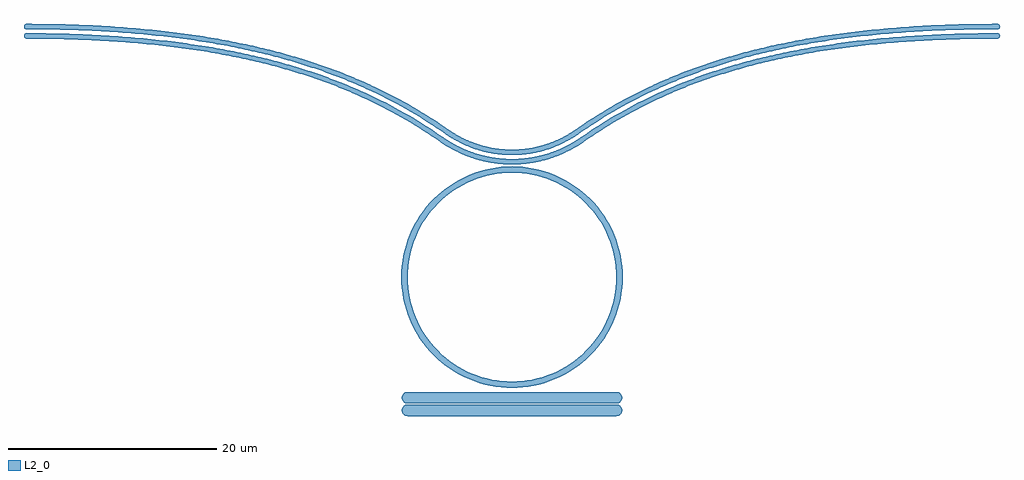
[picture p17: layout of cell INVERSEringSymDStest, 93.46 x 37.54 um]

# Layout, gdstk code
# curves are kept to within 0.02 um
import gdstk
lib = gdstk.Library(unit=1e-6, precision=1e-09)
def P(c, l, *ps):  # polygons
    for p in ps: c.add(gdstk.Polygon(p, *l))
L2_0 = (2, 0)

inverseringsymdstest = lib.new_cell('INVERSEringSymDStest')
P(inverseringsymdstest, L2_0, [(0,-10.6),(-1.039,-10.549),(-2.068,-10.396),(-3.077,-10.144),(-4.056,-9.793),(-4.997,-9.348),(-5.889,-8.814),(-6.725,-8.194),(-7.495,-7.495),(-8.194,-6.725),(-8.814,-5.889),(-9.348,-4.997),(-9.793,-4.056),(-10.144,-3.077),(-10.396,-2.068),(-10.549,-1.039),(-10.6,0),(-10.549,1.039),(-10.396,2.068),(-10.144,3.077),(-9.793,4.056),(-9.348,4.997),(-8.814,5.889),(-8.194,6.725),(-7.495,7.495),(-6.725,8.194),(-5.889,8.814),(-4.997,9.348),(-4.056,9.793),(-3.077,10.144),(-2.068,10.396),(-1.039,10.549),(0,10.6),(1.039,10.549),(2.068,10.396),(3.077,10.144),(4.056,9.793),(4.997,9.348),(5.889,8.814),(6.725,8.194),(7.495,7.495),(8.194,6.725),(8.814,5.889),(9.348,4.997),(9.793,4.056),(10.144,3.077),(10.396,2.068),(10.549,1.039),(10.6,0),(10,0),(9.988,0.491),(9.892,1.467),(9.808,1.951),(9.569,2.903),(9.239,3.827),(9.04,4.276),(8.577,5.141),(8.032,5.957),(7.41,6.716),(6.716,7.41),(6.344,7.73),(5.556,8.315),(5.141,8.577),(4.276,9.04),(3.827,9.239),(2.903,9.569),(2.43,9.7),(1.951,9.808),(0.98,9.952),(0.491,9.988),(-0.491,9.988),(-1.467,9.892),(-1.951,9.808),(-2.903,9.569),(-3.369,9.415),(-3.827,9.239),(-4.714,8.819),(-5.556,8.315),(-5.957,8.032),(-6.716,7.41),(-7.071,7.071),(-7.41,6.716),(-8.032,5.957),(-8.577,5.141),(-9.04,4.276),(-9.239,3.827),(-9.569,2.903),(-9.808,1.951),(-9.892,1.467),(-9.988,0.491),(-9.988,-0.491),(-9.952,-0.98),(-9.808,-1.951),(-9.569,-2.903),(-9.239,-3.827),(-9.04,-4.276),(-8.819,-4.714),(-8.315,-5.556),(-7.73,-6.344),(-7.41,-6.716),(-6.716,-7.41),(-5.957,-8.032),(-5.556,-8.315),(-4.714,-8.819),(-3.827,-9.239),(-2.903,-9.569),(-2.43,-9.7),(-1.467,-9.892),(-0.491,-9.988),(0.491,-9.988),(0.98,-9.952),(1.951,-9.808),(2.903,-9.569),(3.369,-9.415),(4.276,-9.04),(4.714,-8.819),(5.556,-8.315),(5.957,-8.032),(6.716,-7.41),(7.41,-6.716),(8.032,-5.957),(8.577,-5.141),(9.04,-4.276),(9.239,-3.827),(9.569,-2.903),(9.7,-2.43),(9.892,-1.467),(9.952,-0.98),(10,0),(10.6,0),(10.549,-1.039),(10.396,-2.068),(10.144,-3.077),(9.793,-4.056),(9.348,-4.997),(8.814,-5.889),(8.194,-6.725),(7.495,-7.495),(6.725,-8.194),(5.889,-8.814),(4.997,-9.348),(4.056,-9.793),(3.077,-10.144),(2.068,-10.396),(1.039,-10.549)],
  [(-10,-13.3),(-10.214,-13.257),(-10.389,-13.139),(-10.507,-12.964),(-10.55,-12.75),(-10.507,-12.536),(-10.389,-12.361),(-10.214,-12.243),(-10,-12.2),(10,-12.2),(10.214,-12.243),(10.389,-12.361),(10.507,-12.536),(10.55,-12.75),(10.507,-12.964),(10.389,-13.139),(10.214,-13.257),(10,-13.3)],
  [(-10,-12.1),(-10.214,-12.057),(-10.389,-11.939),(-10.507,-11.764),(-10.55,-11.55),(-10.507,-11.336),(-10.389,-11.161),(-10.214,-11.043),(-10,-11),(10,-11),(10.214,-11.043),(10.389,-11.161),(10.507,-11.336),(10.55,-11.55),(10.507,-11.764),(10.389,-11.939),(10.214,-12.057),(10,-12.1)],
  [(0,10.8),(-1.261,10.866),(-2.34,11.03),(-3.509,11.324),(-4.536,11.69),(-5.322,12.044),(-6.129,12.483),(-8.481,14.042),(-10.593,15.317),(-12.384,16.283),(-13.79,16.972),(-16.01,17.948),(-18.373,18.85),(-20.602,19.585),(-22.96,20.254),(-25.455,20.854),(-27.757,21.32),(-30.175,21.728),(-32.715,22.076),(-35.773,22.398),(-39.004,22.635),(-42.856,22.797),(-46.507,22.845),(-46.601,22.874),(-46.689,22.954),(-46.73,23.068),(-46.72,23.168),(-46.621,23.301),(-46.481,23.344),(-41.956,23.27),(-38.134,23.082),(-34.154,22.742),(-31.161,22.377),(-27.987,21.87),(-25.328,21.338),(-22.51,20.652),(-20.438,20.057),(-18.466,19.412),(-16.587,18.718),(-14.797,17.977),(-12.617,16.96),(-10.343,15.75),(-8.211,14.462),(-6.062,13.027),(-5.001,12.444),(-3.781,11.939),(-2.619,11.602),(-1.373,11.382),(-0.715,11.322),(0,11.3)],
  [(0,10.8),(0,11.3),(0.715,11.322),(1.373,11.382),(2.619,11.602),(3.781,11.939),(5.001,12.444),(6.062,13.027),(8.211,14.462),(10.343,15.75),(12.617,16.96),(14.797,17.977),(16.587,18.718),(18.466,19.412),(20.438,20.057),(22.51,20.652),(25.328,21.338),(27.987,21.87),(31.161,22.377),(34.154,22.742),(38.134,23.082),(41.956,23.27),(46.481,23.344),(46.621,23.301),(46.72,23.168),(46.73,23.068),(46.689,22.954),(46.601,22.874),(46.507,22.845),(42.856,22.797),(39.004,22.635),(35.773,22.398),(32.715,22.076),(30.175,21.728),(27.757,21.32),(25.455,20.854),(22.96,20.254),(20.602,19.585),(18.373,18.85),(16.01,17.948),(13.79,16.972),(12.384,16.283),(10.593,15.317),(8.481,14.042),(6.129,12.483),(5.322,12.044),(4.536,11.69),(3.509,11.324),(2.34,11.03),(1.261,10.866)],
  [(0,11.7),(-1.167,11.761),(-2.164,11.913),(-3.246,12.185),(-4.294,12.564),(-5.065,12.923),(-5.715,13.284),(-8.01,14.808),(-10.158,16.105),(-11.514,16.846),(-13.407,17.787),(-15.662,18.778),(-17.786,19.595),(-20.03,20.349),(-22.404,21.037),(-24.913,21.655),(-27.227,22.135),(-30.013,22.613),(-32.581,22.966),(-36.07,23.327),(-39.356,23.556),(-42.824,23.696),(-46.507,23.745),(-46.601,23.774),(-46.689,23.854),(-46.73,23.968),(-46.72,24.068),(-46.621,24.201),(-46.481,24.244),(-41.915,24.169),(-38.057,23.978),(-34.426,23.675),(-31.379,23.315),(-28.147,22.812),(-25.437,22.282),(-22.563,21.596),(-20.449,21.001),(-18.435,20.353),(-16.249,19.552),(-14.432,18.8),(-12.218,17.767),(-9.907,16.537),(-7.738,15.228),(-5.544,13.765),(-4.701,13.299),(-3.629,12.84),(-2.414,12.478),(-1.164,12.264),(0,12.2)],
  [(0,11.7),(0,12.2),(1.164,12.264),(2.414,12.478),(3.629,12.84),(4.701,13.299),(5.544,13.765),(7.738,15.228),(9.907,16.537),(12.218,17.767),(14.432,18.8),(16.249,19.552),(18.435,20.353),(20.449,21.001),(22.563,21.596),(25.437,22.282),(28.147,22.812),(31.379,23.315),(34.426,23.675),(38.057,23.978),(41.915,24.169),(46.481,24.244),(46.621,24.201),(46.72,24.068),(46.73,23.968),(46.689,23.854),(46.601,23.774),(46.507,23.745),(42.824,23.696),(39.356,23.556),(36.07,23.327),(32.581,22.966),(30.013,22.613),(27.227,22.135),(24.913,21.655),(22.404,21.037),(20.03,20.349),(17.786,19.595),(15.662,18.778),(13.407,17.787),(11.514,16.846),(10.158,16.105),(8.01,14.808),(5.715,13.284),(5.065,12.923),(4.294,12.564),(3.246,12.185),(2.164,11.913),(1.167,11.761)])

lib.write_gds('INVERSEringSymDStest.gds')
